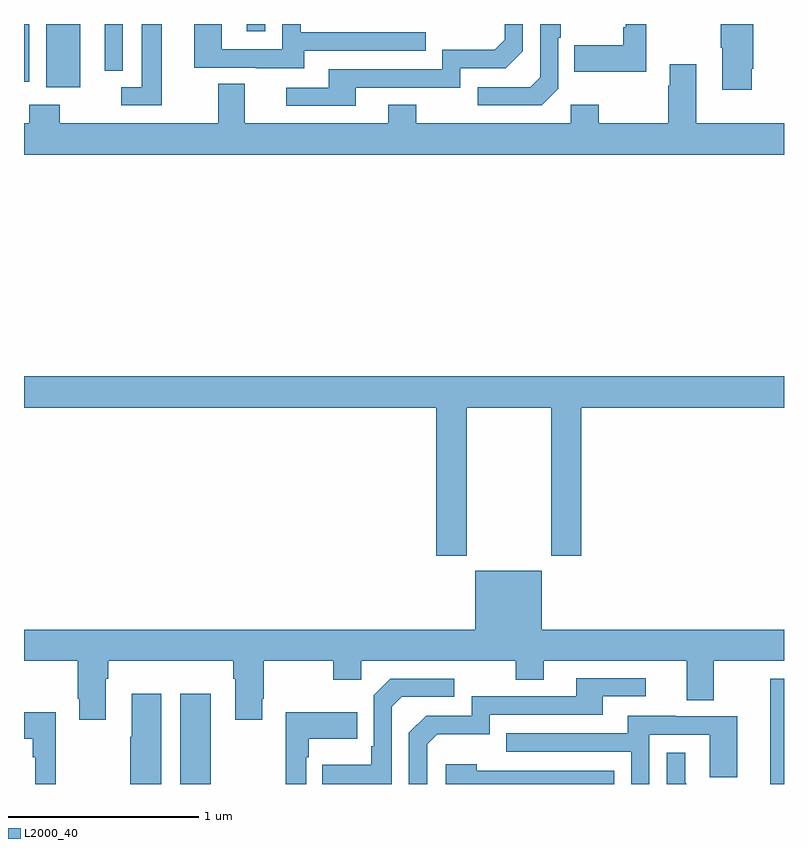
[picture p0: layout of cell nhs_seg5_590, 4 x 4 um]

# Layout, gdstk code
import gdstk
lib = gdstk.Library(unit=1e-6, precision=1e-09)
def R(c, l, rs):  # rectangles x0, y0, x1, y1
    for r in rs: c.add(gdstk.rectangle(r[:2], r[2:], *l))
def P(c, l, *ps):  # polygons
    for p in ps: c.add(gdstk.Polygon(p, *l))
L2000_40 = (2000, 40)

nhs_seg5_590 = lib.new_cell('nhs_seg5_590')
R(nhs_seg5_590, L2000_40, [(149.822,834.799,149.983,835.273), (152.927,834.799,153,835.353), (149.117,838.466,149.296,838.799), (149,838.495,149.028,838.799), (150.173,838.761,150.27,838.799)])
P(nhs_seg5_590, L2000_40, [(150.745,838.464),(151.296,838.464),(151.296,838.566),(151.536,838.566),(151.626,838.656),(151.626,838.799),(151.53,838.799),(151.53,838.716),(151.477,838.663),(151.2,838.663),(151.2,838.56),(150.605,838.56),(150.605,838.464),(150.381,838.464),(150.381,838.368),(150.745,838.368)],
  [(150.475,838.659),(151.115,838.659),(151.115,838.755),(150.456,838.755),(150.456,838.799),(150.36,838.799),(150.36,838.665),(150.042,838.665),(150.042,838.799),(149.897,838.799),(149.897,838.569),(150.221,838.569),(150.221,838.565),(150.475,838.565)],
  [(149.52,838.799),(149.426,838.799),(149.426,838.706),(149.424,838.706),(149.424,838.552),(149.52,838.552)],
  [(149.725,838.799),(149.621,838.799),(149.621,838.467),(149.511,838.467),(149.511,838.371),(149.725,838.371)],
  [(152.83,838.564),(152.838,838.564),(152.838,838.799),(152.668,838.799),(152.668,838.675),(152.675,838.675),(152.675,838.452),(152.83,838.452)],
  [(152.275,838.799),(152.166,838.799),(152.166,838.783),(152.154,838.783),(152.154,838.687),(151.897,838.687),(151.897,838.547),(152.275,838.547)],
  [(151.812,838.458),(151.812,838.727),(151.825,838.727),(151.825,838.799),(151.716,838.799),(151.716,838.518),(151.665,838.467),(151.389,838.467),(151.389,838.371),(151.725,838.371)],
  [(153,838.276),(152.539,838.276),(152.539,838.588),(152.399,838.588),(152.399,838.475),(152.392,838.475),(152.392,838.276),(152.025,838.276),(152.025,838.375),(151.878,838.375),(151.878,838.276),(151.065,838.276),(151.065,838.375),(150.917,838.375),(150.917,838.276),(150.163,838.276),(150.163,838.484),(150.023,838.484),(150.023,838.276),(149.187,838.276),(149.187,838.375),(149.027,838.375),(149.027,838.276),(149,838.276),(149,838.112),(153,838.112)],
  [(151.329,836.78),(151.774,836.78),(151.774,836.001),(151.934,836.001),(151.934,836.78),(153,836.78),(153,836.944),(149,836.944),(149,836.78),(151.169,836.78),(151.169,836.001),(151.329,836.001)],
  [(149.431,835.352),(149.444,835.352),(149.444,835.448),(150.101,835.448),(150.101,835.352),(150.113,835.352),(150.113,835.137),(150.253,835.137),(150.253,835.249),(150.261,835.249),(150.261,835.448),(150.628,835.448),(150.628,835.349),(150.774,835.349),(150.774,835.448),(151.588,835.448),(151.588,835.349),(151.735,835.349),(151.735,835.448),(152.489,835.448),(152.489,835.24),(152.629,835.24),(152.629,835.448),(153,835.448),(153,835.612),(151.726,835.612),(151.726,835.921),(151.376,835.921),(151.376,835.612),(149,835.612),(149,835.448),(149.284,835.448),(149.284,835.249),(149.291,835.249),(149.291,835.137),(149.431,835.137)],
  [(151.122,835.008),(151.175,835.061),(151.452,835.061),(151.452,835.164),(152.047,835.164),(152.047,835.26),(152.272,835.26),(152.272,835.356),(151.907,835.356),(151.907,835.26),(151.356,835.26),(151.356,835.158),(151.116,835.158),(151.026,835.068),(151.026,834.799),(151.122,834.799)],
  [(150.936,835.206),(150.987,835.257),(151.264,835.257),(151.264,835.353),(150.927,835.353),(150.84,835.266),(150.84,834.997),(150.828,834.997),(150.828,834.901),(150.571,834.901),(150.571,834.799),(150.936,834.799)],
  [(149.722,835.273),(149.567,835.273),(149.567,835.049),(149.56,835.049),(149.56,834.799),(149.722,834.799)],
  [(149.167,835.177),(149,835.177),(149,835.037),(149.046,835.037),(149.046,834.941),(149.058,834.941),(149.058,834.799),(149.167,834.799)],
  [(150.486,834.941),(150.499,834.941),(150.499,835.037),(150.755,835.037),(150.755,835.177),(150.378,835.177),(150.378,834.799),(150.486,834.799)],
  [(152.292,835.059),(152.61,835.059),(152.61,834.835),(152.755,834.835),(152.755,835.155),(152.431,835.155),(152.431,835.159),(152.177,835.159),(152.177,835.065),(151.537,835.065),(151.537,834.969),(152.196,834.969),(152.196,834.799),(152.292,834.799)],
  [(152.479,834.807),(152.479,834.964),(152.382,834.964),(152.382,834.799),(152.487,834.799)],
  [(152.106,834.87),(151.382,834.87),(151.382,834.904),(151.221,834.904),(151.221,834.799),(152.106,834.799)])

lib.write_gds('nhs_seg5_590.gds')
